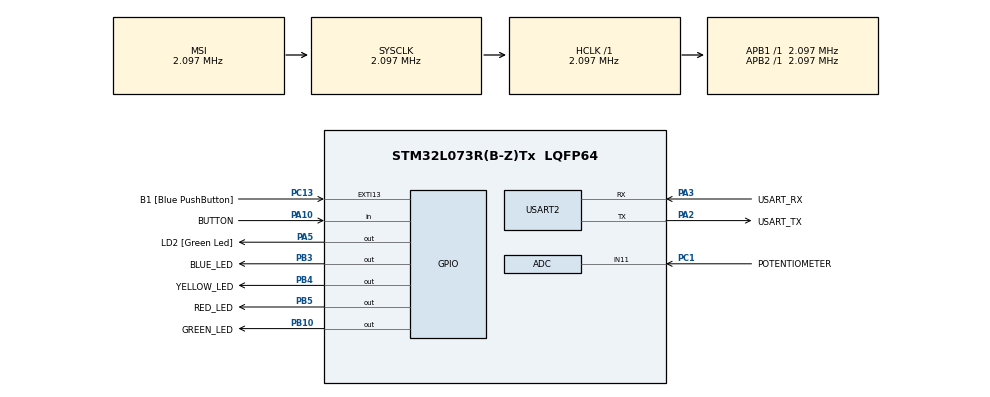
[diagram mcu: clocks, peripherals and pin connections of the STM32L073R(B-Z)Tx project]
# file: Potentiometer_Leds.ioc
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ADC.ClockPrescaler=ADC_CLOCK_SYNC_PCLK_DIV4
ADC.ContinuousConvMode=ENABLE
ADC.DMAContinuousRequests=ENABLE
ADC.Resolution=ADC_RESOLUTION_10B
ADC.SamplingTime=ADC_SAMPLETIME_19CYCLES_5
Dma.ADC.0.Direction=DMA_PERIPH_TO_MEMORY
Dma.ADC.0.Instance=DMA1_Channel1
Dma.ADC.0.MemDataAlignment=DMA_MDATAALIGN_HALFWORD
Dma.ADC.0.MemInc=DMA_MINC_ENABLE
Dma.ADC.0.Mode=DMA_CIRCULAR
Dma.ADC.0.PeriphDataAlignment=DMA_PDATAALIGN_HALFWORD
Dma.ADC.0.PeriphInc=DMA_PINC_DISABLE
Dma.ADC.0.Priority=DMA_PRIORITY_LOW
Dma.Request0=ADC
Mcu.Family=STM32L0
Mcu.Name=STM32L073R(B-Z)Tx
Mcu.Package=LQFP64
NVIC.DMA1_Channel1_IRQn=true\:0\:0\:false\:false\:true\:false\:true
PA10.GPIO_Label=BUTTON
PA10.GPIO_PuPd=GPIO_PULLDOWN
PA10.Signal=GPIO_Input
PA13.GPIO_Label=TMS
PA13.Mode=Serial_Wire
PA13.Signal=SYS_SWDIO
PA14.GPIO_Label=TCK
PA14.Mode=Serial_Wire
PA14.Signal=SYS_SWCLK
PA2.GPIO_Label=USART_TX
PA2.Mode=Asynchronous
PA2.Signal=USART2_TX
PA3.GPIO_Label=USART_RX
PA3.Mode=Asynchronous
PA3.Signal=USART2_RX
PA5.GPIO_Label=LD2 [Green Led]
PA5.Signal=GPIO_Output
PB10.GPIO_Label=GREEN_LED
PB10.Signal=GPIO_Output
PB3.GPIO_Label=BLUE_LED
PB3.Signal=GPIO_Output
PB4.GPIO_Label=YELLOW_LED
PB4.Signal=GPIO_Output
PB5.GPIO_Label=RED_LED
PB5.Signal=GPIO_Output
PC1.GPIO_Label=POTENTIOMETER
PC1.Mode=IN11
PC1.Signal=ADC_IN11
PC13.GPIO_Label=B1 [Blue PushButton]
PC13.GPIO_ModeDefaultEXTI=GPIO_MODE_IT_FALLING
PC13.Signal=GPXTI13
PC14-OSC32_IN.Mode=LSE-External-Oscillator
PC14-OSC32_IN.Signal=RCC_OSC32_IN
PC15-OSC32_OUT.Mode=LSE-External-Oscillator
PC15-OSC32_OUT.Signal=RCC_OSC32_OUT
PH0-OSC_IN.GPIO_Label=MCO
PH0-OSC_IN.Mode=HSE-External-Clock-Source
PH0-OSC_IN.Signal=RCC_OSC_IN
ProjectManager.HeapSize=0x200
ProjectManager.StackSize=0x400
ProjectManager.TargetToolchain=MDK-ARM V4
RCC.AHBFreq_Value=2097000
RCC.APB1Freq_Value=2097000
RCC.APB1TimFreq_Value=2097000
RCC.APB2Freq_Value=2097000
RCC.APB2TimFreq_Value=2097000
RCC.HSE_VALUE=8000000
RCC.HSI16_VALUE=16000000
RCC.HSI48_VALUE=48000000
RCC.HSI_VALUE=16000000
RCC.MSI_VALUE=2097000
RCC.SYSCLKFreq_VALUE=2097000
RCC.VCOOutputFreq_Value=48000000
USART2.VirtualMode-Asynchronous=VM_ASYNC
board=NUCLEO-L073RZ

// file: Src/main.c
/* USER CODE BEGIN Header */
/**
  ******************************************************************************
  * @file           : main.c
  * @brief          : Main program body
  ******************************************************************************
  * @attention
  *
  * <h2><center>&copy; Copyright (c) 2022 STMicroelectronics.
  * All rights reserved.</center></h2>
  *
  * This software component is licensed by ST under BSD 3-Clause license,
  * the "License"; You may not use this file except in compliance with the
  * License. You may obtain a copy of the License at:
  *                        opensource.org/licenses/BSD-3-Clause
  *
  ******************************************************************************
  */
/* USER CODE END Header */

#include "main.h"
#include <string.h>
#include <stdio.h>
#include <stdlib.h>
/* USER CODE BEGIN Includes */
#define TIMEOUT 10
#define MAX_STRING_SIZE 6
#define MAX_DELAY_MS    100
#define ACTIVATE        1
#define ADC_BUF_SIZE    1024
/* USER CODE END Includes */

ADC_HandleTypeDef hadc;
DMA_HandleTypeDef hdma_adc;
UART_HandleTypeDef huart2;

/* USER CODE BEGIN PV */
volatile uint8_t button_state;
uint8_t pressed = 1;
uint16_t pot_buffer[ADC_BUF_SIZE];
uint32_t pot_value = 0;
char reading[20];
/* USER CODE END PV */

void SystemClock_Config(void);
static void MX_GPIO_Init(void);
static void MX_DMA_Init(void);
static void MX_ADC_Init(void);
static void MX_USART2_UART_Init(void);

int main(void)
{

  /* MCU Configuration--------------------------------------------------------*/

  /* Reset of all peripherals, Initializes the Flash interface and the Systick. */
  HAL_Init();

  /* Configure the system clock */
  SystemClock_Config();

  /* Initialize all configured peripherals */
  MX_GPIO_Init();
  MX_DMA_Init();
  MX_ADC_Init();
  MX_USART2_UART_Init();
  /* USER CODE BEGIN 2 */
  HAL_ADC_Start_DMA(&hadc, (uint32_t*) pot_buffer, ADC_BUF_SIZE);
  /* USER CODE END 2 */

  /* Infinite loop */
  while (1)
  {

    /* USER CODE BEGIN 3 */
		HAL_ADC_Start(&hadc);
		if(HAL_ADC_PollForConversion(&hadc, TIMEOUT) == HAL_OK)
		{
		    pot_value = HAL_ADC_GetValue(&hadc);
			  HAL_UART_Transmit(&huart2, (uint8_t*)pot_value, MAX_STRING_SIZE, MAX_DELAY_MS);
			  if(pot_value > 0 && pot_value < 250)
				{
					HAL_GPIO_WritePin(GPIOB, BLUE_LED_Pin, GPIO_PIN_RESET);
					HAL_GPIO_WritePin(GPIOB, GREEN_LED_Pin, GPIO_PIN_SET);
				}
				else if(pot_value > 250 && pot_value < 500)
				{
					HAL_GPIO_WritePin(GPIOB, GREEN_LED_Pin, GPIO_PIN_RESET);
					HAL_GPIO_WritePin(GPIOB, RED_LED_Pin, GPIO_PIN_SET);
				}
				else if(pot_value > 500 && pot_value < 700)
				{
					HAL_GPIO_WritePin(GPIOB, RED_LED_Pin, GPIO_PIN_RESET);
					HAL_GPIO_WritePin(GPIOB, YELLOW_LED_Pin, GPIO_PIN_SET);
				}
				if(pot_value > 700 && pot_value < 1000)
				{
					HAL_GPIO_WritePin(GPIOB, YELLOW_LED_Pin, GPIO_PIN_RESET);
					HAL_GPIO_WritePin(GPIOB, BLUE_LED_Pin, GPIO_PIN_SET);
				} else {
					HAL_GPIO_WritePin(LD2_GPIO_Port, LD2_Pin, GPIO_PIN_RESET);
				}

	  } else {
		Error_Handler();
	  }
		HAL_Delay(50);
		if(HAL_GPIO_ReadPin(BUTTON_GPIO_Port, BUTTON_Pin) && pot_value == 0)
		{
			button_state = pressed;
			 while(button_state)
		   {
			  HAL_GPIO_WritePin(GPIOB, GREEN_LED_Pin|BLUE_LED_Pin|YELLOW_LED_Pin|RED_LED_Pin, GPIO_PIN_SET);
			  HAL_GPIO_WritePin(LD2_GPIO_Port, LD2_Pin, GPIO_PIN_RESET);
		   	HAL_Delay(500);

			  HAL_GPIO_WritePin(GPIOB, GREEN_LED_Pin|BLUE_LED_Pin|YELLOW_LED_Pin|RED_LED_Pin, GPIO_PIN_RESET);
			  HAL_GPIO_WritePin(LD2_GPIO_Port, LD2_Pin, GPIO_PIN_SET);
			  HAL_Delay(500);
		   }
		} else {
             button_state = !pressed;
		}
  }
  /* USER CODE END 3 */
}

void SystemClock_Config(void)
{
  RCC_OscInitTypeDef RCC_OscInitStruct = {0};
  RCC_ClkInitTypeDef RCC_ClkInitStruct = {0};
  RCC_PeriphCLKInitTypeDef PeriphClkInit = {0};

  /** Configure the main internal regulator output voltage
  */
  __HAL_PWR_VOLTAGESCALING_CONFIG(PWR_REGULATOR_VOLTAGE_SCALE1);
  /** Initializes the CPU, AHB and APB busses clocks
  */
  RCC_OscInitStruct.OscillatorType = RCC_OSCILLATORTYPE_MSI;
  RCC_OscInitStruct.MSIState = RCC_MSI_ON;
  RCC_OscInitStruct.MSICalibrationValue = 0;
  RCC_OscInitStruct.MSIClockRange = RCC_MSIRANGE_5;
  RCC_OscInitStruct.PLL.PLLState = RCC_PLL_NONE;
  if (HAL_RCC_OscConfig(&RCC_OscInitStruct) != HAL_OK)
  {
    Error_Handler();
  }
  /** Initializes the CPU, AHB and APB busses clocks
  */
  RCC_ClkInitStruct.ClockType = RCC_CLOCKTYPE_HCLK|RCC_CLOCKTYPE_SYSCLK
                              |RCC_CLOCKTYPE_PCLK1|RCC_CLOCKTYPE_PCLK2;
  RCC_ClkInitStruct.SYSCLKSource = RCC_SYSCLKSOURCE_MSI;
  RCC_ClkInitStruct.AHBCLKDivider = RCC_SYSCLK_DIV1;
  RCC_ClkInitStruct.APB1CLKDivider = RCC_HCLK_DIV1;
  RCC_ClkInitStruct.APB2CLKDivider = RCC_HCLK_DIV1;

  if (HAL_RCC_ClockConfig(&RCC_ClkInitStruct, FLASH_LATENCY_0) != HAL_OK)
  {
    Error_Handler();
  }
  PeriphClkInit.PeriphClockSelection = RCC_PERIPHCLK_USART2;
  PeriphClkInit.Usart2ClockSelection = RCC_USART2CLKSOURCE_PCLK1;
  if (HAL_RCCEx_PeriphCLKConfig(&PeriphClkInit) != HAL_OK)
  {
    Error_Handler();
  }
}

static void MX_ADC_Init(void)
{

  ADC_ChannelConfTypeDef sConfig = {0};

  /** Configure the global features of the ADC (Clock, Resolution, Data Alignment and number of conversion)
  */
  hadc.Instance = ADC1;
  hadc.Init.OversamplingMode = DISABLE;
  hadc.Init.ClockPrescaler = ADC_CLOCK_SYNC_PCLK_DIV4;
  hadc.Init.Resolution = ADC_RESOLUTION_10B;
  hadc.Init.SamplingTime = ADC_SAMPLETIME_19CYCLES_5;
  hadc.Init.ScanConvMode = ADC_SCAN_DIRECTION_FORWARD;
  hadc.Init.DataAlign = ADC_DATAALIGN_RIGHT;
  hadc.Init.ContinuousConvMode = ENABLE;
  hadc.Init.DiscontinuousConvMode = DISABLE;
  hadc.Init.ExternalTrigConvEdge = ADC_EXTERNALTRIGCONVEDGE_NONE;
  hadc.Init.ExternalTrigConv = ADC_SOFTWARE_START;
  hadc.Init.DMAContinuousRequests = ENABLE;
  hadc.Init.EOCSelection = ADC_EOC_SINGLE_CONV;
  hadc.Init.Overrun = ADC_OVR_DATA_PRESERVED;
  hadc.Init.LowPowerAutoWait = DISABLE;
  hadc.Init.LowPowerFrequencyMode = DISABLE;
  hadc.Init.LowPowerAutoPowerOff = DISABLE;
  if (HAL_ADC_Init(&hadc) != HAL_OK)
  {
    Error_Handler();
  }
  /** Configure for the selected ADC regular channel to be converted.
  */
  sConfig.Channel = ADC_CHANNEL_11;
  sConfig.Rank = ADC_RANK_CHANNEL_NUMBER;
  if (HAL_ADC_ConfigChannel(&hadc, &sConfig) != HAL_OK)
  {
    Error_Handler();
  }

}

static void MX_USART2_UART_Init(void)
{

  huart2.Instance = USART2;
  huart2.Init.BaudRate = 115200;
  huart2.Init.WordLength = UART_WORDLENGTH_8B;
  huart2.Init.StopBits = UART_STOPBITS_1;
  huart2.Init.Parity = UART_PARITY_NONE;
  huart2.Init.Mode = UART_MODE_TX_RX;
  huart2.Init.HwFlowCtl = UART_HWCONTROL_NONE;
  huart2.Init.OverSampling = UART_OVERSAMPLING_16;
  huart2.Init.OneBitSampling = UART_ONE_BIT_SAMPLE_DISABLE;
  huart2.AdvancedInit.AdvFeatureInit = UART_ADVFEATURE_NO_INIT;
  if (HAL_UART_Init(&huart2) != HAL_OK)
  {
    Error_Handler();
  }

}

static void MX_DMA_Init(void)
{

  /* DMA controller clock enable */
  __HAL_RCC_DMA1_CLK_ENABLE();

  /* DMA interrupt init */
  /* DMA1_Channel1_IRQn interrupt configuration */
  HAL_NVIC_SetPriority(DMA1_Channel1_IRQn, 0, 0);
  HAL_NVIC_EnableIRQ(DMA1_Channel1_IRQn);

}

static void MX_GPIO_Init(void)
{
  GPIO_InitTypeDef GPIO_InitStruct = {0};

  /* GPIO Ports Clock Enable */
  __HAL_RCC_GPIOC_CLK_ENABLE();
  __HAL_RCC_GPIOH_CLK_ENABLE();
  __HAL_RCC_GPIOA_CLK_ENABLE();
  __HAL_RCC_GPIOB_CLK_ENABLE();

  /*Configure GPIO pin Output Level */
  HAL_GPIO_WritePin(LD2_GPIO_Port, LD2_Pin, GPIO_PIN_RESET);

  /*Configure GPIO pin Output Level */
  HAL_GPIO_WritePin(GPIOB, GREEN_LED_Pin|BLUE_LED_Pin|YELLOW_LED_Pin|RED_LED_Pin, GPIO_PIN_RESET);

  /*Configure GPIO pin : B1_Pin */
  GPIO_InitStruct.Pin = B1_Pin;
  GPIO_InitStruct.Mode = GPIO_MODE_IT_FALLING;
  GPIO_InitStruct.Pull = GPIO_NOPULL;
  HAL_GPIO_Init(B1_GPIO_Port, &GPIO_InitStruct);

  /*Configure GPIO pin : LD2_Pin */
  GPIO_InitStruct.Pin = LD2_Pin;
  GPIO_InitStruct.Mode = GPIO_MODE_OUTPUT_PP;
  GPIO_InitStruct.Pull = GPIO_NOPULL;
  GPIO_InitStruct.Speed = GPIO_SPEED_FREQ_LOW;
  HAL_GPIO_Init(LD2_GPIO_Port, &GPIO_InitStruct);

  /*Configure GPIO pins : GREEN_LED_Pin BLUE_LED_Pin YELLOW_LED_Pin RED_LED_Pin */
  GPIO_InitStruct.Pin = GREEN_LED_Pin|BLUE_LED_Pin|RED_LED_Pin;
  GPIO_InitStruct.Mode = GPIO_MODE_OUTPUT_PP;
  GPIO_InitStruct.Pull = GPIO_NOPULL;
  GPIO_InitStruct.Speed = GPIO_SPEED_FREQ_LOW;
  HAL_GPIO_Init(GPIOB, &GPIO_InitStruct);

	GPIO_InitStruct.Pin = YELLOW_LED_Pin;
	GPIO_InitStruct.Mode = GPIO_MODE_OUTPUT_PP;
  GPIO_InitStruct.Pull = GPIO_NOPULL;
  GPIO_InitStruct.Speed = GPIO_SPEED_FREQ_LOW;
  HAL_GPIO_Init(GPIOB, &GPIO_InitStruct);

  /*Configure GPIO pin : BUTTON_Pin */
  GPIO_InitStruct.Pin = BUTTON_Pin;
  GPIO_InitStruct.Mode = GPIO_MODE_INPUT;
  GPIO_InitStruct.Pull = GPIO_PULLDOWN;
  HAL_GPIO_Init(BUTTON_GPIO_Port, &GPIO_InitStruct);

}

/* USER CODE BEGIN 4 */
void HAL_ADC_ConvHalfCpltCallback(ADC_HandleTypeDef* hadc)
{
	HAL_GPIO_WritePin(YELLOW_LED_GPIO_Port, YELLOW_LED_Pin, GPIO_PIN_SET);
}

void HAL_ADC_ConvCpltCallback(ADC_HandleTypeDef* hadc)
{
	HAL_GPIO_WritePin(YELLOW_LED_GPIO_Port, YELLOW_LED_Pin, GPIO_PIN_RESET);
	HAL_GPIO_WritePin(RED_LED_GPIO_Port, RED_LED_Pin, GPIO_PIN_SET);
}
/* USER CODE END 4 */

void Error_Handler(void)
{
}

/************************ (C) COPYRIGHT STMicroelectronics *****END OF FILE****/
